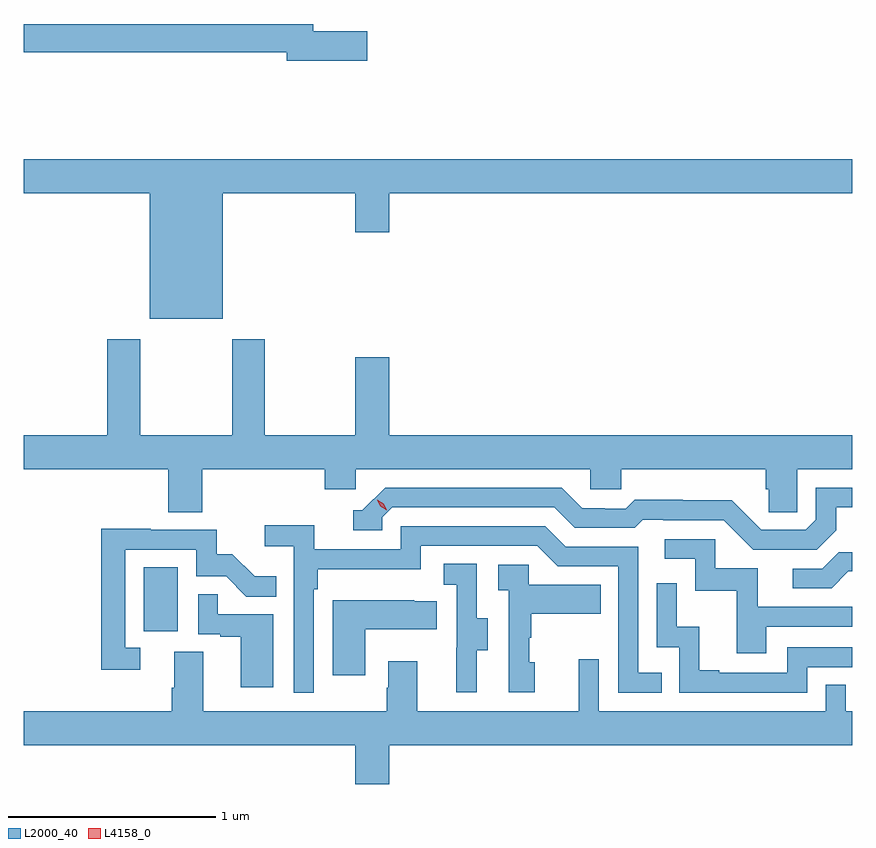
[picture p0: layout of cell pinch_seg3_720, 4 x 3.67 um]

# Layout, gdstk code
import gdstk
lib = gdstk.Library(unit=1e-6, precision=1e-09)
def R(c, l, rs):  # rectangles x0, y0, x1, y1
    for r in rs: c.add(gdstk.rectangle(r[:2], r[2:], *l))
def P(c, l, *ps):  # polygons
    for p in ps: c.add(gdstk.Polygon(p, *l))
L2000_40 = (2000, 40)
L4158_0 = (4158, 0)

pinch_seg3_720 = lib.new_cell('pinch_seg3_720')
R(pinch_seg3_720, L2000_40, [(883.268,729.438,883.432,729.745)])
P(pinch_seg3_720, L2000_40, [(884.347,732.332),(884.086,732.332),(884.086,732.368),(882.688,732.368),(882.688,732.232),(883.958,732.232),(883.958,732.19),(884.347,732.19)],
  [(883.648,731.552),(884.288,731.552),(884.288,731.364),(884.452,731.364),(884.452,731.552),(886.688,731.552),(886.688,731.716),(882.688,731.716),(882.688,731.552),(883.298,731.552),(883.298,730.946),(883.648,730.946)],
  [(883.55,730.22),(884.141,730.22),(884.141,730.122),(884.292,730.122),(884.292,730.22),(885.423,730.22),(885.423,730.122),(885.573,730.122),(885.573,730.22),(886.271,730.22),(886.271,730.122),(886.285,730.122),(886.285,730.012),(886.422,730.012),(886.422,730.22),(886.688,730.22),(886.688,730.384),(884.452,730.384),(884.452,730.759),(884.288,730.759),(884.288,730.384),(883.851,730.384),(883.851,730.846),(883.696,730.846),(883.696,730.384),(883.251,730.384),(883.251,730.846),(883.091,730.846),(883.091,730.384),(882.688,730.384),(882.688,730.22),(883.385,730.22),(883.385,730.012),(883.55,730.012)],
  [(886.609,729.925),(886.609,730.035),(886.688,730.035),(886.688,730.131),(886.512,730.131),(886.512,729.975),(886.464,729.927),(886.248,729.927),(886.106,730.069),(885.87,730.069),(885.87,730.072),(885.637,730.072),(885.595,730.029),(885.492,730.029),(885.492,730.032),(885.385,730.032),(885.286,730.131),(884.433,730.131),(884.322,730.02),(884.279,730.02),(884.279,729.924),(884.418,729.924),(884.418,729.987),(884.466,730.035),(885.249,730.035),(885.348,729.936),(885.637,729.936),(885.676,729.975),(885.775,729.975),(885.775,729.972),(886.068,729.972),(886.209,729.831),(886.515,729.831)],
  [(884.088,729.641),(884.108,729.641),(884.108,729.737),(884.604,729.737),(884.604,729.849),(885.168,729.849),(885.267,729.75),(885.558,729.75),(885.558,729.141),(885.767,729.141),(885.767,729.237),(885.654,729.237),(885.654,729.846),(885.304,729.846),(885.205,729.945),(884.508,729.945),(884.508,729.834),(884.09,729.834),(884.09,729.95),(883.851,729.95),(883.851,729.848),(883.992,729.848),(883.992,729.141),(884.088,729.141)],
  [(883.252,729.357),(883.179,729.357),(883.179,729.831),(883.521,729.831),(883.521,729.702),(883.665,729.702),(883.763,729.604),(883.907,729.604),(883.907,729.703),(883.803,729.703),(883.696,729.81),(883.62,729.81),(883.62,729.927),(883.301,729.927),(883.301,729.932),(883.063,729.932),(883.063,729.252),(883.252,729.252)],
  [(886.273,729.459),(886.688,729.459),(886.688,729.555),(886.231,729.555),(886.231,729.741),(886.026,729.741),(886.026,729.882),(885.783,729.882),(885.783,729.786),(885.93,729.786),(885.93,729.633),(886.129,729.633),(886.129,729.33),(886.273,729.33)],
  [(886.669,729.726),(886.688,729.726),(886.688,729.818),(886.622,729.818),(886.542,729.738),(886.401,729.738),(886.401,729.645),(886.588,729.645)],
  [(884.875,729.346),(884.929,729.346),(884.929,729.501),(884.874,729.501),(884.874,729.764),(884.715,729.764),(884.715,729.661),(884.778,729.661),(884.778,729.357),(884.777,729.357),(884.777,729.144),(884.875,729.144)],
  [(885.154,729.288),(885.129,729.288),(885.129,729.407),(885.139,729.407),(885.139,729.521),(885.473,729.521),(885.473,729.661),(885.126,729.661),(885.126,729.759),(884.979,729.759),(884.979,729.635),(885.03,729.635),(885.03,729.144),(885.154,729.144)],
  [(886.47,729.264),(886.688,729.264),(886.688,729.36),(886.374,729.36),(886.374,729.237),(886.045,729.237),(886.045,729.25),(885.95,729.25),(885.95,729.458),(885.84,729.458),(885.84,729.67),(885.744,729.67),(885.744,729.36),(885.852,729.36),(885.852,729.141),(886.47,729.141)],
  [(883.894,729.519),(883.625,729.519),(883.625,729.617),(883.53,729.617),(883.53,729.423),(883.637,729.423),(883.637,729.411),(883.736,729.411),(883.736,729.168),(883.894,729.168)],
  [(884.338,729.446),(884.681,729.446),(884.681,729.583),(884.573,729.583),(884.573,729.586),(884.18,729.586),(884.18,729.225),(884.338,729.225)],
  [(884.452,728.888),(886.688,728.888),(886.688,729.052),(886.656,729.052),(886.656,729.179),(886.56,729.179),(886.56,729.052),(885.465,729.052),(885.465,729.301),(885.368,729.301),(885.368,729.052),(884.587,729.052),(884.587,729.292),(884.447,729.292),(884.447,729.164),(884.44,729.164),(884.44,729.052),(883.555,729.052),(883.555,729.338),(883.415,729.338),(883.415,729.164),(883.403,729.164),(883.403,729.052),(882.688,729.052),(882.688,728.888),(884.288,728.888),(884.288,728.7),(884.452,728.7)])
P(pinch_seg3_720, L4158_0, [(884.441,730.021),(884.41,730.04),(884.394,730.072),(884.394,730.072),(884.395,730.072),(884.425,730.053),(884.441,730.021),(884.441,730.021)])

lib.write_gds('pinch_seg3_720.gds')
